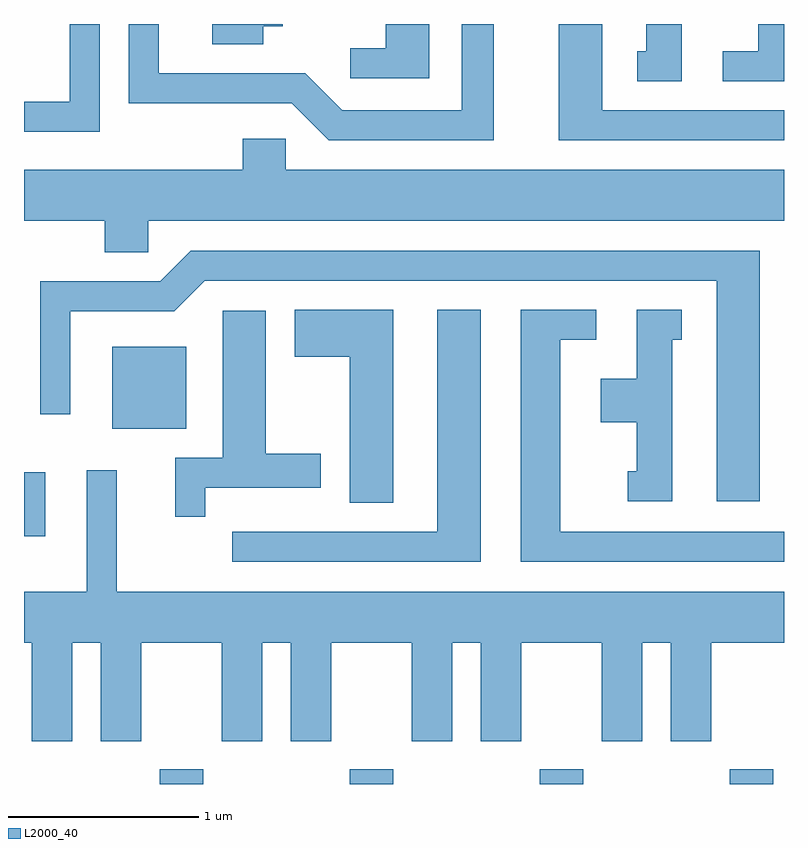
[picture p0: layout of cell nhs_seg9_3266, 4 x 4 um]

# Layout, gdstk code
import gdstk
lib = gdstk.Library(unit=1e-6, precision=1e-09)
def R(c, l, rs):  # rectangles x0, y0, x1, y1
    for r in rs: c.add(gdstk.rectangle(r[:2], r[2:], *l))
def A(c, l, x, y, w, h, nx, ny, dx, dy):  # array of equal rectangles
    R(c, l, [(x+i*dx, y+j*dy, x+i*dx+w, y+j*dy+h) for i in range(nx) for j in range(ny)])
def P(c, l, *ps):  # polygons
    for p in ps: c.add(gdstk.Polygon(p, *l))
L2000_40 = (2000, 40)

nhs_seg9_3266 = lib.new_cell('nhs_seg9_3266')
A(nhs_seg9_3266, L2000_40, 282.326, 1964.432, 0.228, 0.077, 4, 1, 1, 0)
R(nhs_seg9_3266, L2000_40, [(281.611,1965.736,281.724,1966.074), (282.076,1966.301,282.464,1966.734)])
P(nhs_seg9_3266, L2000_40, [(285.074,1968.432),(284.886,1968.432),(284.886,1968.289),(284.838,1968.289),(284.838,1968.131),(285.074,1968.131)],
  [(283.744,1968.432),(283.516,1968.432),(283.516,1968.304),(283.328,1968.304),(283.328,1968.146),(283.744,1968.146)],
  [(285.611,1967.979),(284.654,1967.979),(284.654,1968.432),(284.426,1968.432),(284.426,1967.821),(285.611,1967.821)],
  [(284.084,1968.432),(283.916,1968.432),(283.916,1967.979),(283.287,1967.979),(283.092,1968.174),(282.319,1968.174),(282.319,1968.432),(282.161,1968.432),(282.161,1968.016),(283.019,1968.016),(283.214,1967.821),(284.084,1967.821)],
  [(285.611,1968.432),(285.476,1968.432),(285.476,1968.289),(285.288,1968.289),(285.288,1968.131),(285.611,1968.131)],
  [(282.009,1968.432),(281.851,1968.432),(281.851,1968.024),(281.611,1968.024),(281.611,1967.866),(282.009,1967.866)],
  [(282.869,1968.421),(282.974,1968.421),(282.974,1968.432),(282.601,1968.432),(282.601,1968.326),(282.869,1968.326)],
  [(282.264,1967.396),(285.611,1967.396),(285.611,1967.664),(282.989,1967.664),(282.989,1967.829),(282.761,1967.829),(282.761,1967.664),(281.611,1967.664),(281.611,1967.396),(282.036,1967.396),(282.036,1967.231),(282.264,1967.231)],
  [(285.484,1967.239),(282.489,1967.239),(282.329,1967.079),(281.696,1967.079),(281.696,1966.378),(281.854,1966.378),(281.854,1966.921),(282.402,1966.921),(282.562,1967.081),(285.256,1967.081),(285.256,1965.921),(285.484,1965.921)],
  [(285.024,1966.771),(285.073,1966.771),(285.073,1966.929),(284.836,1966.929),(284.836,1966.564),(284.646,1966.564),(284.646,1966.336),(284.836,1966.336),(284.836,1966.079),(284.788,1966.079),(284.788,1965.921),(285.024,1965.921)],
  [(283.554,1966.929),(283.036,1966.929),(283.036,1966.681),(283.326,1966.681),(283.326,1965.911),(283.554,1965.911)],
  [(285.611,1965.759),(284.434,1965.759),(284.434,1966.771),(284.623,1966.771),(284.623,1966.929),(284.226,1966.929),(284.226,1965.601),(285.611,1965.601)],
  [(284.014,1966.929),(283.786,1966.929),(283.786,1965.759),(282.708,1965.759),(282.708,1965.601),(284.014,1965.601)],
  [(282.564,1965.991),(283.174,1965.991),(283.174,1966.169),(282.884,1966.169),(282.884,1966.924),(282.656,1966.924),(282.656,1966.149),(282.406,1966.149),(282.406,1965.838),(282.564,1965.838)],
  [(281.864,1965.176),(282.016,1965.176),(282.016,1964.656),(282.229,1964.656),(282.229,1965.176),(282.651,1965.176),(282.651,1964.656),(282.864,1964.656),(282.864,1965.176),(283.016,1965.176),(283.016,1964.656),(283.229,1964.656),(283.229,1965.176),(283.651,1965.176),(283.651,1964.656),(283.864,1964.656),(283.864,1965.176),(284.016,1965.176),(284.016,1964.656),(284.229,1964.656),(284.229,1965.176),(284.651,1965.176),(284.651,1964.656),(284.864,1964.656),(284.864,1965.176),(285.016,1965.176),(285.016,1964.656),(285.229,1964.656),(285.229,1965.176),(285.611,1965.176),(285.611,1965.444),(282.099,1965.444),(282.099,1966.083),(281.941,1966.083),(281.941,1965.444),(281.611,1965.444),(281.611,1965.176),(281.651,1965.176),(281.651,1964.656),(281.864,1964.656)])

lib.write_gds('nhs_seg9_3266.gds')
